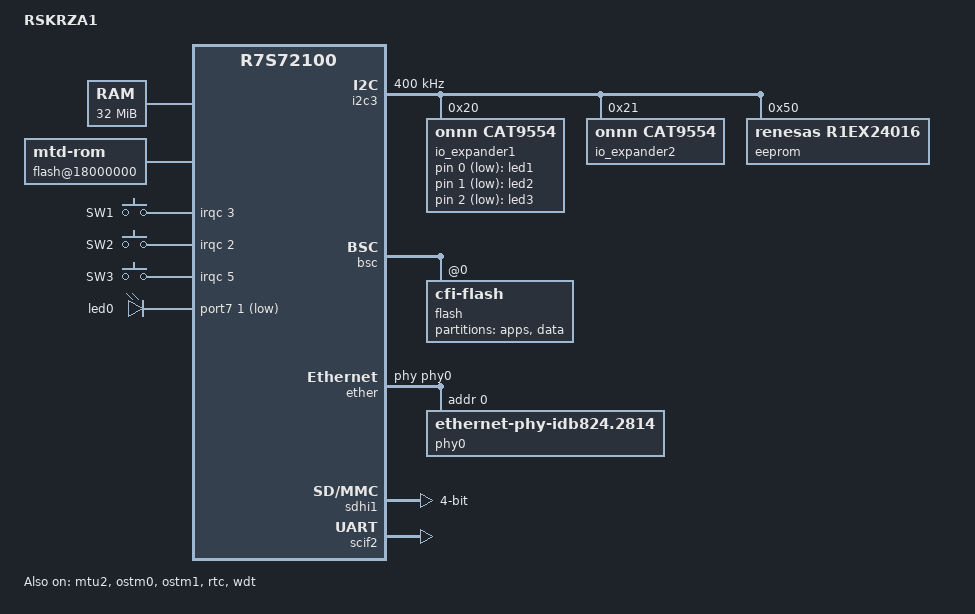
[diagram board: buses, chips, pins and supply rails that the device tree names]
// SPDX-License-Identifier: GPL-2.0
/*
 * Device Tree Source for the RZ/A1H RSK board
 *
 * Copyright (C) 2016 Renesas Electronics
 */

/dts-v1/;
#include "r7s72100.dtsi"
#include <dt-bindings/gpio/gpio.h>
#include <dt-bindings/input/input.h>
#include <dt-bindings/pinctrl/r7s72100-pinctrl.h>

/ {
	model = "RSKRZA1";
	compatible = "renesas,rskrza1", "renesas,r7s72100";

	aliases {
		serial0 = &scif2;
	};

	chosen {
		bootargs = "ignore_loglevel";
		stdout-path = "serial0:115200n8";
	};

	memory@8000000 {
		device_type = "memory";
		reg = <0x08000000 0x02000000>;
	};

	flash@18000000 {
		compatible = "mtd-rom";
		reg = <0x18000000 0x08000000>;
		clocks = <&mstp9_clks R7S72100_CLK_SPIBSC0>;
		power-domains = <&cpg_clocks>;
		bank-width = <4>;
		device-width = <1>;
		#address-cells = <1>;
		#size-cells = <1>;

		partitions {
			compatible = "fixed-partitions";
			#address-cells = <1>;
			#size-cells = <1>;

			partition@0 {
				label = "uboot";
				reg = <0x00000000 0x00080000>;
			};

			partition@80000 {
				label = "uboot-env";
				reg = <0x00080000 0x00040000>;
			};

			partition@c0000 {
				label = "dt";
				reg = <0x000c0000 0x00040000>;
			};

			partition@100000 {
				label = "kernel";
				reg = <0x00100000 0x00280000>;
			};

			partition@400000 {
				label = "rootfs";
				reg = <0x00400000 0x01c00000>;
			};
		};
	};

	keyboard {
		compatible = "gpio-keys";

		pinctrl-names = "default";
		pinctrl-0 = <&keyboard_pins>;

		key-1 {
			interrupts-extended = <&irqc 3 IRQ_TYPE_EDGE_BOTH>;
			linux,code = <KEY_1>;
			label = "SW1";
			wakeup-source;
		};

		key-2 {
			interrupts-extended = <&irqc 2 IRQ_TYPE_EDGE_BOTH>;
			linux,code = <KEY_2>;
			label = "SW2";
			wakeup-source;
		};

		key-3 {
			interrupts-extended = <&irqc 5 IRQ_TYPE_EDGE_BOTH>;
			linux,code = <KEY_3>;
			label = "SW3";
			wakeup-source;
		};
	};

	leds {
		compatible = "gpio-leds";

		led0 {
			gpios = <&port7 1 GPIO_ACTIVE_LOW>;
		};

		led1 {
			gpios = <&io_expander1 0 GPIO_ACTIVE_LOW>;
		};

		led2 {
			gpios = <&io_expander1 1 GPIO_ACTIVE_LOW>;
		};

		led3 {
			gpios = <&io_expander1 2 GPIO_ACTIVE_LOW>;
		};
	};
};

&extal_clk {
	clock-frequency = <13330000>;
};

&i2c3 {
	pinctrl-names = "default";
	pinctrl-0 = <&i2c3_pins>;
	status = "okay";

	clock-frequency = <400000>;

	io_expander1: gpio@20 {
		compatible = "onnn,cat9554";
		reg = <0x20>;
		gpio-controller;
		#gpio-cells = <2>;
	};

	io_expander2: gpio@21 {
		compatible = "onnn,cat9554";
		reg = <0x21>;
		gpio-controller;
		#gpio-cells = <2>;
	};

	eeprom@50 {
		compatible = "renesas,r1ex24016", "atmel,24c16";
		reg = <0x50>;
		pagesize = <16>;
	};
};

&bsc {
	flash@0 {
		compatible = "cfi-flash";
		reg = <0x00000000 0x4000000>;
		bank-width = <2>;

		partitions {
			compatible = "fixed-partitions";
			#address-cells = <1>;
			#size-cells = <1>;

			partition@0 {
				label = "apps";
				reg = <0x00000000 0x01000000>;
			};

			partition@1000000 {
				label = "data";
				reg = <0x01000000 0x03000000>;
			};
		};
	};
};

&usb_x1_clk {
	clock-frequency = <48000000>;
};

&rtc_x1_clk {
	clock-frequency = <32768>;
};

&pinctrl {
	/* RIIC ch3 (Port Expander, EEPROM (MAC Addr), Audio Codec) */
	i2c3_pins: i2c3 {
		pinmux = <RZA1_PINMUX(1, 6, 1)>,	/* RIIC3SCL */
			 <RZA1_PINMUX(1, 7, 1)>;	/* RIIC3SDA */
	};

	keyboard_pins: keyboard {
		pinmux = <RZA1_PINMUX(1, 9, 3)>,	/* IRQ3 */
			 <RZA1_PINMUX(1, 8, 3)>,	/* IRQ2 */
			 <RZA1_PINMUX(1, 11, 3)>;	/* IRQ5 */
	};

	/* Serial Console */
	scif2_pins: serial2 {
		pinmux = <RZA1_PINMUX(3, 0, 6)>,	/* TxD2 */
			 <RZA1_PINMUX(3, 2, 4)>;	/* RxD2 */
	};

	/* Ethernet */
	ether_pins: ether {
		/* Ethernet on Ports 1,2,3,5 */
		pinmux = <RZA1_PINMUX(1, 14, 4)>,	/* ET_COL   */
			 <RZA1_PINMUX(5, 9, 2)>,	/* ET_MDC   */
			 <RZA1_PINMUX(3, 3, 2)>,	/* ET_MDIO  */
			 <RZA1_PINMUX(3, 4, 2)>,	/* ET_RXCLK */
			 <RZA1_PINMUX(3, 5, 2)>,	/* ET_RXER  */
			 <RZA1_PINMUX(3, 6, 2)>,	/* ET_RXDV  */
			 <RZA1_PINMUX(2, 0, 2)>,	/* ET_TXCLK */
			 <RZA1_PINMUX(2, 1, 2)>,	/* ET_TXER  */
			 <RZA1_PINMUX(2, 2, 2)>,	/* ET_TXEN  */
			 <RZA1_PINMUX(2, 3, 2)>,	/* ET_CRS   */
			 <RZA1_PINMUX(2, 4, 2)>,	/* ET_TXD0  */
			 <RZA1_PINMUX(2, 5, 2)>,	/* ET_TXD1  */
			 <RZA1_PINMUX(2, 6, 2)>,	/* ET_TXD2  */
			 <RZA1_PINMUX(2, 7, 2)>,	/* ET_TXD3  */
			 <RZA1_PINMUX(2, 8, 2)>,	/* ET_RXD0  */
			 <RZA1_PINMUX(2, 9, 2)>,	/* ET_RXD1  */
			 <RZA1_PINMUX(2, 10, 2)>,	/* ET_RXD2  */
			 <RZA1_PINMUX(2, 11, 2)>;	/* ET_RXD3  */
	};

	/* SDHI ch1 on CN1 */
	sdhi1_pins: sdhi1 {
		pinmux = <RZA1_PINMUX(3, 8, 7)>,	/* SD_CD_1 */
			 <RZA1_PINMUX(3, 9, 7)>,	/* SD_WP_1 */
			 <RZA1_PINMUX(3, 10, 7)>,	/* SD_D1_1 */
			 <RZA1_PINMUX(3, 11, 7)>,	/* SD_D0_1 */
			 <RZA1_PINMUX(3, 12, 7)>,	/* SD_CLK_1 */
			 <RZA1_PINMUX(3, 13, 7)>,	/* SD_CMD_1 */
			 <RZA1_PINMUX(3, 14, 7)>,	/* SD_D3_1 */
			 <RZA1_PINMUX(3, 15, 7)>;	/* SD_D2_1 */
	};
};

&mtu2 {
	status = "okay";
};

&ether {
	pinctrl-names = "default";
	pinctrl-0 = <&ether_pins>;
	status = "okay";
	renesas,no-ether-link;
	phy-handle = <&phy0>;
	phy0: ethernet-phy@0 {
		compatible = "ethernet-phy-idb824.2814",
			     "ethernet-phy-ieee802.3-c22";
		reg = <0>;
	};
};

&sdhi1 {
	pinctrl-names = "default";
	pinctrl-0 = <&sdhi1_pins>;
	bus-width = <4>;
	status = "okay";
};

&ostm0 {
	status = "okay";
};

&ostm1 {
	status = "okay";
};

&rtc {
	status = "okay";
};

&scif2 {
	pinctrl-names = "default";
	pinctrl-0 = <&scif2_pins>;
	status = "okay";
};

&wdt {
	timeout-sec = <60>;
	status = "okay";
};
